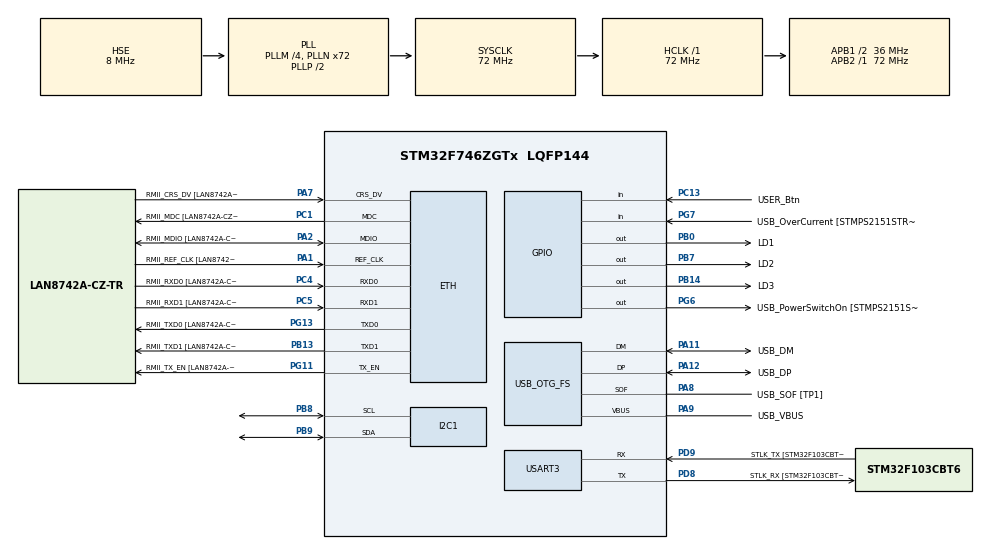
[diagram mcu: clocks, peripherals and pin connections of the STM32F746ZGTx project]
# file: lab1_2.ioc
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ETH.MediaInterface=HAL_ETH_RMII_MODE
ETH.PHY_Name=LAN8742A_PHY_ADDRESS
ETH.PHY_Value=0
ETH.PhyAddress=0
I2C1.Timing=0x00808CD2
Mcu.Family=STM32F7
Mcu.Name=STM32F746ZGTx
Mcu.Package=LQFP144
NVIC.PriorityGroup=NVIC_PRIORITYGROUP_4
PA1.GPIO_Label=RMII_REF_CLK [LAN8742A-CZ-TR_REFCLK0]
PA1.Mode=RMII
PA1.Signal=ETH_REF_CLK
PA10.GPIO_Label=USB_ID
PA10.Signal=USB_OTG_FS_ID
PA11.GPIO_Label=USB_DM
PA11.Mode=Device_Only
PA11.Signal=USB_OTG_FS_DM
PA12.GPIO_Label=USB_DP
PA12.Mode=Device_Only
PA12.Signal=USB_OTG_FS_DP
PA13.GPIO_Label=TMS
PA13.Mode=Serial_Wire
PA13.Signal=SYS_JTMS-SWDIO
PA14.GPIO_Label=TCK
PA14.Mode=Serial_Wire
PA14.Signal=SYS_JTCK-SWCLK
PA2.GPIO_Label=RMII_MDIO [LAN8742A-CZ-TR_MDIO]
PA2.Mode=RMII
PA2.Signal=ETH_MDIO
PA7.GPIO_Label=RMII_CRS_DV [LAN8742A-CZ-TR_CRS_DV]
PA7.Mode=RMII
PA7.Signal=ETH_CRS_DV
PA8.GPIO_Label=USB_SOF [TP1]
PA8.Mode=Activate_SOF_FS
PA8.Signal=USB_OTG_FS_SOF
PA9.GPIO_Label=USB_VBUS
PA9.Mode=Activate_VBUS
PA9.Signal=USB_OTG_FS_VBUS
PB0.GPIO_Label=LD1
PB0.Signal=GPIO_Output
PB13.GPIO_Label=RMII_TXD1 [LAN8742A-CZ-TR_TXD1]
PB13.Mode=RMII
PB13.Signal=ETH_TXD1
PB14.GPIO_Label=LD3
PB14.Signal=GPIO_Output
PB3.GPIO_Label=SW0
PB3.Signal=SYS_JTDO-SWO
PB7.GPIO_Label=LD2 
PB7.Signal=GPIO_Output
PB8.Mode=I2C
PB8.Signal=I2C1_SCL
PB9.Mode=I2C
PB9.Signal=I2C1_SDA
PC1.GPIO_Label=RMII_MDC [LAN8742A-CZ-TR_MDC]
PC1.Mode=RMII
PC1.Signal=ETH_MDC
PC13.GPIO_Label=USER_Btn
PC13.Signal=GPIO_Input
PC14/OSC32_IN.Mode=LSE-External-Oscillator
PC14/OSC32_IN.Signal=RCC_OSC32_IN
PC15/OSC32_OUT.Mode=LSE-External-Oscillator
PC15/OSC32_OUT.Signal=RCC_OSC32_OUT
PC4.GPIO_Label=RMII_RXD0 [LAN8742A-CZ-TR_RXD0]
PC4.Mode=RMII
PC4.Signal=ETH_RXD0
PC5.GPIO_Label=RMII_RXD1 [LAN8742A-CZ-TR_RXD1]
PC5.Mode=RMII
PC5.Signal=ETH_RXD1
PD8.GPIO_Label=STLK_RX [STM32F103CBT6_PA3]
PD8.GPIO_PuPd=GPIO_PULLUP
PD8.Mode=Asynchronous
PD8.Signal=USART3_TX
PD9.GPIO_Label=STLK_TX [STM32F103CBT6_PA2]
PD9.GPIO_PuPd=GPIO_PULLUP
PD9.Mode=Asynchronous
PD9.Signal=USART3_RX
PG11.GPIO_Label=RMII_TX_EN [LAN8742A-CZ-TR_TXEN]
PG11.Mode=RMII
PG11.Signal=ETH_TX_EN
PG13.GPIO_Label=RMII_TXD0 [LAN8742A-CZ-TR_TXD0]
PG13.Mode=RMII
PG13.Signal=ETH_TXD0
PG6.GPIO_Label=USB_PowerSwitchOn [STMPS2151STR_EN]
PG6.Signal=GPIO_Output
PG7.GPIO_Label=USB_OverCurrent [STMPS2151STR_FAULT]
PG7.Signal=GPIO_Input
PH0/OSC_IN.GPIO_Label=MCO [STM32F103CBT6_PA8]
PH0/OSC_IN.Mode=HSE-External-Clock-Source
PH0/OSC_IN.Signal=RCC_OSC_IN
PH1/OSC_OUT.Mode=HSE-External-Clock-Source
PH1/OSC_OUT.Signal=RCC_OSC_OUT
ProjectManager.HeapSize=0x200
ProjectManager.StackSize=0x400
ProjectManager.TargetToolchain=STM32CubeIDE
RCC.48MHZClocksFreq_Value=24000000
RCC.AHBFreq_Value=72000000
RCC.APB1CLKDivider=RCC_HCLK_DIV2
RCC.APB1Freq_Value=36000000
RCC.APB1TimFreq_Value=72000000
RCC.APB2Freq_Value=72000000
RCC.APB2TimFreq_Value=72000000
RCC.CortexFreq_Value=72000000
RCC.HCLKFreq_Value=72000000
RCC.HSE_VALUE=8000000
RCC.HSI_VALUE=16000000
RCC.PLLM=4
RCC.PLLMUL=RCC_PLL_MUL9
RCC.PLLN=72
RCC.PLLQ=3
RCC.PRESCALERUSB=RCC_USBCLKSOURCE_PLL_DIV1_5
RCC.SYSCLKFreq_VALUE=72000000
RCC.SYSCLKSource=RCC_SYSCLKSOURCE_PLLCLK
RCC.SYSCLKSourceVirtual=RCC_SYSCLKSOURCE_PLLCLK
RCC.USBFreq_Value=48000000
RCC.VCOOutputFreq_Value=144000000
USART3.VirtualMode-Asynchronous=VM_ASYNC
USB_OTG_FS.VirtualMode=Device_Only
board=NUCLEO-F746ZG

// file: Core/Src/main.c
/* USER CODE BEGIN Header */
/**
  ******************************************************************************
  * @file           : main.c
  * @brief          : Main program body
  ******************************************************************************
  * @attention
  *
  * Copyright (c) 2025 STMicroelectronics.
  * All rights reserved.
  *
  * This software is licensed under terms that can be found in the LICENSE file
  * in the root directory of this software component.
  * If no LICENSE file comes with this software, it is provided AS-IS.
  *
  ******************************************************************************
  */
/* USER CODE END Header */
#include "main.h"
#include "string.h"

/* USER CODE BEGIN Includes */
#include <stdbool.h>

/* USER CODE END Includes */

#if defined ( __ICCARM__ ) /*!< IAR Compiler */
#pragma location=0x2004c000
ETH_DMADescTypeDef  DMARxDscrTab[ETH_RX_DESC_CNT]; /* Ethernet Rx DMA Descriptors */
#pragma location=0x2004c0a0
ETH_DMADescTypeDef  DMATxDscrTab[ETH_TX_DESC_CNT]; /* Ethernet Tx DMA Descriptors */

#elif defined ( __CC_ARM )  /* MDK ARM Compiler */

__attribute__((at(0x2004c000))) ETH_DMADescTypeDef  DMARxDscrTab[ETH_RX_DESC_CNT]; /* Ethernet Rx DMA Descriptors */
__attribute__((at(0x2004c0a0))) ETH_DMADescTypeDef  DMATxDscrTab[ETH_TX_DESC_CNT]; /* Ethernet Tx DMA Descriptors */

#elif defined ( __GNUC__ ) /* GNU Compiler */

ETH_DMADescTypeDef DMARxDscrTab[ETH_RX_DESC_CNT] __attribute__((section(".RxDecripSection"))); /* Ethernet Rx DMA Descriptors */
ETH_DMADescTypeDef DMATxDscrTab[ETH_TX_DESC_CNT] __attribute__((section(".TxDecripSection")));   /* Ethernet Tx DMA Descriptors */
#endif

ETH_TxPacketConfig TxConfig;

ETH_HandleTypeDef heth;

I2C_HandleTypeDef hi2c1;

UART_HandleTypeDef huart3;

PCD_HandleTypeDef hpcd_USB_OTG_FS;

void SystemClock_Config(void);
static void MX_GPIO_Init(void);
static void MX_ETH_Init(void);
static void MX_I2C1_Init(void);
static void MX_USART3_UART_Init(void);
static void MX_USB_OTG_FS_PCD_Init(void);

int main(void)
{

  /* MCU Configuration--------------------------------------------------------*/

  /* Reset of all peripherals, Initializes the Flash interface and the Systick. */
  HAL_Init();

  /* Configure the system clock */
  SystemClock_Config();

  /* Initialize all configured peripherals */
  MX_GPIO_Init();
  MX_ETH_Init();
  MX_I2C1_Init();
  MX_USART3_UART_Init();
  MX_USB_OTG_FS_PCD_Init();
  /* USER CODE BEGIN 2 */

  typedef struct{
	 GPIO_TypeDef* port;
	 uint16_t pin;
  }pin_t;

  typedef struct{
	  pin_t gpio;
	  uint8_t prev_state;
	  uint8_t pressed;
  }Button;

  Button user_button = {{USER_Btn_GPIO_Port, USER_Btn_Pin}, 0, 0};
  pin_t LED1 = {LD1_GPIO_Port, LD1_Pin};

  bool key_pooling(Button* btn)
  {
      uint8_t curr_state = HAL_GPIO_ReadPin(btn->gpio.port, btn->gpio.pin);

      if (btn->prev_state == 0 && curr_state == 1)
      {
          btn->pressed = 1;
          btn->prev_state = curr_state;
          return true;
      }

      btn->prev_state = curr_state;
      btn->pressed = 0;
      return false;
  }

  /* USER CODE END 2 */

  /* Infinite loop */
  while (1)
  {

	if(key_pooling(&user_button))
	{
		HAL_GPIO_TogglePin(LED1.port, LED1.pin);
	}
	HAL_Delay(0);
  }
}

void SystemClock_Config(void)
{
  RCC_OscInitTypeDef RCC_OscInitStruct = {0};
  RCC_ClkInitTypeDef RCC_ClkInitStruct = {0};

  /** Configure LSE Drive Capability
  */
  HAL_PWR_EnableBkUpAccess();

  /** Configure the main internal regulator output voltage
  */
  __HAL_RCC_PWR_CLK_ENABLE();
  __HAL_PWR_VOLTAGESCALING_CONFIG(PWR_REGULATOR_VOLTAGE_SCALE3);

  /** Initializes the RCC Oscillators according to the specified parameters
  * in the RCC_OscInitTypeDef structure.
  */
  RCC_OscInitStruct.OscillatorType = RCC_OSCILLATORTYPE_HSE;
  RCC_OscInitStruct.HSEState = RCC_HSE_BYPASS;
  RCC_OscInitStruct.PLL.PLLState = RCC_PLL_ON;
  RCC_OscInitStruct.PLL.PLLSource = RCC_PLLSOURCE_HSE;
  RCC_OscInitStruct.PLL.PLLM = 4;
  RCC_OscInitStruct.PLL.PLLN = 72;
  RCC_OscInitStruct.PLL.PLLP = RCC_PLLP_DIV2;
  RCC_OscInitStruct.PLL.PLLQ = 3;
  if (HAL_RCC_OscConfig(&RCC_OscInitStruct) != HAL_OK)
  {
    Error_Handler();
  }

  /** Initializes the CPU, AHB and APB buses clocks
  */
  RCC_ClkInitStruct.ClockType = RCC_CLOCKTYPE_HCLK|RCC_CLOCKTYPE_SYSCLK
                              |RCC_CLOCKTYPE_PCLK1|RCC_CLOCKTYPE_PCLK2;
  RCC_ClkInitStruct.SYSCLKSource = RCC_SYSCLKSOURCE_PLLCLK;
  RCC_ClkInitStruct.AHBCLKDivider = RCC_SYSCLK_DIV1;
  RCC_ClkInitStruct.APB1CLKDivider = RCC_HCLK_DIV2;
  RCC_ClkInitStruct.APB2CLKDivider = RCC_HCLK_DIV1;

  if (HAL_RCC_ClockConfig(&RCC_ClkInitStruct, FLASH_LATENCY_2) != HAL_OK)
  {
    Error_Handler();
  }
}

static void MX_ETH_Init(void)
{

   static uint8_t MACAddr[6];

  heth.Instance = ETH;
  MACAddr[0] = 0x00;
  MACAddr[1] = 0x80;
  MACAddr[2] = 0xE1;
  MACAddr[3] = 0x00;
  MACAddr[4] = 0x00;
  MACAddr[5] = 0x00;
  heth.Init.MACAddr = &MACAddr[0];
  heth.Init.MediaInterface = HAL_ETH_RMII_MODE;
  heth.Init.TxDesc = DMATxDscrTab;
  heth.Init.RxDesc = DMARxDscrTab;
  heth.Init.RxBuffLen = 1524;

  if (HAL_ETH_Init(&heth) != HAL_OK)
  {
    Error_Handler();
  }

  memset(&TxConfig, 0 , sizeof(ETH_TxPacketConfig));
  TxConfig.Attributes = ETH_TX_PACKETS_FEATURES_CSUM | ETH_TX_PACKETS_FEATURES_CRCPAD;
  TxConfig.ChecksumCtrl = ETH_CHECKSUM_IPHDR_PAYLOAD_INSERT_PHDR_CALC;
  TxConfig.CRCPadCtrl = ETH_CRC_PAD_INSERT;

}

static void MX_I2C1_Init(void)
{

  hi2c1.Instance = I2C1;
  hi2c1.Init.Timing = 0x00808CD2;
  hi2c1.Init.OwnAddress1 = 0;
  hi2c1.Init.AddressingMode = I2C_ADDRESSINGMODE_7BIT;
  hi2c1.Init.DualAddressMode = I2C_DUALADDRESS_DISABLE;
  hi2c1.Init.OwnAddress2 = 0;
  hi2c1.Init.OwnAddress2Masks = I2C_OA2_NOMASK;
  hi2c1.Init.GeneralCallMode = I2C_GENERALCALL_DISABLE;
  hi2c1.Init.NoStretchMode = I2C_NOSTRETCH_DISABLE;
  if (HAL_I2C_Init(&hi2c1) != HAL_OK)
  {
    Error_Handler();
  }

  /** Configure Analogue filter
  */
  if (HAL_I2CEx_ConfigAnalogFilter(&hi2c1, I2C_ANALOGFILTER_ENABLE) != HAL_OK)
  {
    Error_Handler();
  }

  /** Configure Digital filter
  */
  if (HAL_I2CEx_ConfigDigitalFilter(&hi2c1, 0) != HAL_OK)
  {
    Error_Handler();
  }

}

static void MX_USART3_UART_Init(void)
{

  huart3.Instance = USART3;
  huart3.Init.BaudRate = 115200;
  huart3.Init.WordLength = UART_WORDLENGTH_8B;
  huart3.Init.StopBits = UART_STOPBITS_1;
  huart3.Init.Parity = UART_PARITY_NONE;
  huart3.Init.Mode = UART_MODE_TX_RX;
  huart3.Init.HwFlowCtl = UART_HWCONTROL_NONE;
  huart3.Init.OverSampling = UART_OVERSAMPLING_16;
  huart3.Init.OneBitSampling = UART_ONE_BIT_SAMPLE_DISABLE;
  huart3.AdvancedInit.AdvFeatureInit = UART_ADVFEATURE_NO_INIT;
  if (HAL_UART_Init(&huart3) != HAL_OK)
  {
    Error_Handler();
  }

}

static void MX_USB_OTG_FS_PCD_Init(void)
{

  hpcd_USB_OTG_FS.Instance = USB_OTG_FS;
  hpcd_USB_OTG_FS.Init.dev_endpoints = 6;
  hpcd_USB_OTG_FS.Init.speed = PCD_SPEED_FULL;
  hpcd_USB_OTG_FS.Init.dma_enable = DISABLE;
  hpcd_USB_OTG_FS.Init.phy_itface = PCD_PHY_EMBEDDED;
  hpcd_USB_OTG_FS.Init.Sof_enable = ENABLE;
  hpcd_USB_OTG_FS.Init.low_power_enable = DISABLE;
  hpcd_USB_OTG_FS.Init.lpm_enable = DISABLE;
  hpcd_USB_OTG_FS.Init.vbus_sensing_enable = ENABLE;
  hpcd_USB_OTG_FS.Init.use_dedicated_ep1 = DISABLE;
  if (HAL_PCD_Init(&hpcd_USB_OTG_FS) != HAL_OK)
  {
    Error_Handler();
  }

}

static void MX_GPIO_Init(void)
{
  GPIO_InitTypeDef GPIO_InitStruct = {0};

  /* GPIO Ports Clock Enable */
  __HAL_RCC_GPIOC_CLK_ENABLE();
  __HAL_RCC_GPIOH_CLK_ENABLE();
  __HAL_RCC_GPIOA_CLK_ENABLE();
  __HAL_RCC_GPIOB_CLK_ENABLE();
  __HAL_RCC_GPIOD_CLK_ENABLE();
  __HAL_RCC_GPIOG_CLK_ENABLE();

  /*Configure GPIO pin Output Level */
  HAL_GPIO_WritePin(GPIOB, LD1_Pin|LD3_Pin|LD2_Pin, GPIO_PIN_RESET);

  /*Configure GPIO pin Output Level */
  HAL_GPIO_WritePin(USB_PowerSwitchOn_GPIO_Port, USB_PowerSwitchOn_Pin, GPIO_PIN_RESET);

  /*Configure GPIO pin : USER_Btn_Pin */
  GPIO_InitStruct.Pin = USER_Btn_Pin;
  GPIO_InitStruct.Mode = GPIO_MODE_INPUT;
  GPIO_InitStruct.Pull = GPIO_NOPULL;
  HAL_GPIO_Init(USER_Btn_GPIO_Port, &GPIO_InitStruct);

  /*Configure GPIO pins : LD1_Pin LD3_Pin LD2_Pin */
  GPIO_InitStruct.Pin = LD1_Pin|LD3_Pin|LD2_Pin;
  GPIO_InitStruct.Mode = GPIO_MODE_OUTPUT_PP;
  GPIO_InitStruct.Pull = GPIO_NOPULL;
  GPIO_InitStruct.Speed = GPIO_SPEED_FREQ_LOW;
  HAL_GPIO_Init(GPIOB, &GPIO_InitStruct);

  /*Configure GPIO pin : USB_PowerSwitchOn_Pin */
  GPIO_InitStruct.Pin = USB_PowerSwitchOn_Pin;
  GPIO_InitStruct.Mode = GPIO_MODE_OUTPUT_PP;
  GPIO_InitStruct.Pull = GPIO_NOPULL;
  GPIO_InitStruct.Speed = GPIO_SPEED_FREQ_LOW;
  HAL_GPIO_Init(USB_PowerSwitchOn_GPIO_Port, &GPIO_InitStruct);

  /*Configure GPIO pin : USB_OverCurrent_Pin */
  GPIO_InitStruct.Pin = USB_OverCurrent_Pin;
  GPIO_InitStruct.Mode = GPIO_MODE_INPUT;
  GPIO_InitStruct.Pull = GPIO_NOPULL;
  HAL_GPIO_Init(USB_OverCurrent_GPIO_Port, &GPIO_InitStruct);

}

void Error_Handler(void)
{
  __disable_irq();
  while (1)
  {
  }
}
